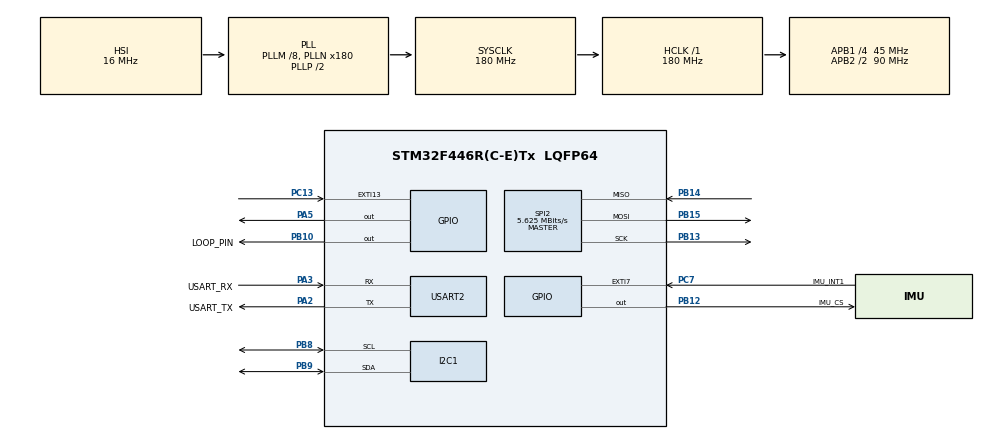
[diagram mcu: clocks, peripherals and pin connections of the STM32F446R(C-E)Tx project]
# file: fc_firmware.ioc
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FREERTOS.Tasks01=defaultTask,24,512,StartDefaultTask,Default,NULL,Dynamic,NULL,NULL
FREERTOS.configCHECK_FOR_STACK_OVERFLOW=2
FREERTOS.configUSE_NEWLIB_REENTRANT=1
I2C1.I2C_Mode=I2C_Fast
Mcu.Family=STM32F4
Mcu.Name=STM32F446R(C-E)Tx
Mcu.Package=LQFP64
NUCLEO-F446RE.BUTTON=1
NUCLEO-F446RE.LD1=true
NVIC.EXTI15_10_IRQn=true\:5\:0\:true\:false\:true\:true\:true\:true\:true
NVIC.EXTI9_5_IRQn=true\:5\:0\:false\:false\:true\:true\:true\:true\:true
NVIC.PriorityGroup=NVIC_PRIORITYGROUP_4
NVIC.TIM6_DAC_IRQn=true\:15\:0\:false\:false\:true\:false\:false\:true\:true
NVIC.TimeBase=TIM6_DAC_IRQn
NVIC.TimeBaseIP=TIM6
NVIC.USART2_IRQn=true\:6\:0\:true\:false\:true\:true\:true\:true\:true
PA13.GPIO_Label=TMS
PA13.Mode=Serial_Wire
PA13.Signal=SYS_JTMS-SWDIO
PA14.GPIO_Label=TCK
PA14.Mode=Serial_Wire
PA14.Signal=SYS_JTCK-SWCLK
PA2.GPIO_Label=USART_TX
PA2.Mode=Asynchronous
PA2.Signal=USART2_TX
PA3.GPIO_Label=USART_RX
PA3.Mode=Asynchronous
PA3.Signal=USART2_RX
PA5.Signal=GPIO_Output
PB10.GPIO_Label=LOOP_PIN
PB10.Signal=GPIO_Output
PB12.GPIO_Label=IMU_CS
PB12.GPIO_Speed=GPIO_SPEED_FREQ_VERY_HIGH
PB12.PinState=GPIO_PIN_SET
PB12.Signal=GPIO_Output
PB13.Mode=Full_Duplex_Master
PB13.Signal=SPI2_SCK
PB14.Mode=Full_Duplex_Master
PB14.Signal=SPI2_MISO
PB15.Mode=Full_Duplex_Master
PB15.Signal=SPI2_MOSI
PB3.GPIO_Label=SWO
PB3.Signal=SYS_JTDO-SWO
PB8.Mode=I2C
PB8.Signal=I2C1_SCL
PB9.Mode=I2C
PB9.Signal=I2C1_SDA
PC13.Signal=GPXTI13
PC14-OSC32_IN.Signal=RCC_OSC32_IN
PC15-OSC32_OUT.Signal=RCC_OSC32_OUT
PC7.GPIO_Label=IMU_INT1
PC7.GPIO_ModeDefaultEXTI=GPIO_MODE_IT_RISING
PC7.Signal=GPXTI7
PH0-OSC_IN.Signal=RCC_OSC_IN
PH1-OSC_OUT.Signal=RCC_OSC_OUT
ProjectManager.HeapSize=0x200
ProjectManager.StackSize=0x400
ProjectManager.TargetToolchain=STM32CubeIDE
RCC.AHBFreq_Value=180000000
RCC.APB1CLKDivider=RCC_HCLK_DIV4
RCC.APB1Freq_Value=45000000
RCC.APB1TimFreq_Value=90000000
RCC.APB2CLKDivider=RCC_HCLK_DIV2
RCC.APB2Freq_Value=90000000
RCC.APB2TimFreq_Value=180000000
RCC.CortexFreq_Value=180000000
RCC.FLatency-AdvancedSettings=FLASH_LATENCY_5
RCC.HCLKFreq_Value=180000000
RCC.HSE_VALUE=8000000
RCC.HSI_VALUE=16000000
RCC.LSE_VALUE=32768
RCC.PLLM=8
RCC.PLLN=180
RCC.SYSCLKFreq_VALUE=180000000
RCC.SYSCLKSource=RCC_SYSCLKSOURCE_PLLCLK
RCC.USBFreq_Value=180000000
RCC.VCOOutputFreq_Value=360000000
SPI2.BaudRatePrescaler=SPI_BAUDRATEPRESCALER_8
SPI2.CLKPhase=SPI_PHASE_2EDGE
SPI2.CLKPolarity=SPI_POLARITY_HIGH
SPI2.CalculateBaudRate=5.625 MBits/s
SPI2.Direction=SPI_DIRECTION_2LINES
SPI2.Mode=SPI_MODE_MASTER
SPI2.VirtualType=VM_MASTER
USART2.VirtualMode=VM_ASYNC
VP_FREERTOS_VS_CMSIS_V2.Mode=CMSIS_V2
VP_NUCLEO-F446RE_VS_BSP_COMMON.Mode=COMMON
VP_SYS_VS_tim6.Mode=TIM6
board=NUCLEO-F446RE

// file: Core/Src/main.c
/* USER CODE BEGIN Header */
/**
  ******************************************************************************
  * @file           : main.c
  * @brief          : Main program body
  ******************************************************************************
  * @attention
  *
  * Copyright (c) 2026 STMicroelectronics.
  * All rights reserved.
  *
  * This software is licensed under terms that can be found in the LICENSE file
  * in the root directory of this software component.
  * If no LICENSE file comes with this software, it is provided AS-IS.
  *
  ******************************************************************************
  */
/* USER CODE END Header */
#include "main.h"
#include "cmsis_os.h"
#include "i2c.h"
#include "spi.h"
#include "usart.h"
#include "gpio.h"

/* USER CODE BEGIN Includes */
#include <stdio.h>
#include "pid.h"
#include "comp_filter.h"
/* USER CODE END Includes */

void SystemClock_Config(void);
void MX_FREERTOS_Init(void);

/* USER CODE BEGIN 0 */

/* Redirect prinf to USART2 (the ST_LINK's serial port). */
int _write(int file, char* ptr, int len)
{
	(void)file;		//unused: all output goes to the UART
	HAL_UART_Transmit(&huart2, (uint8_t *)ptr, len, HAL_MAX_DELAY);	//send the bytes, wait until done
	return len;		//tell printf everything was written
}
/* USER CODE END 0 */

int main(void)
{

  /* MCU Configuration--------------------------------------------------------*/

  /* Reset of all peripherals, Initializes the Flash interface and the Systick. */
  HAL_Init();

  /* Configure the system clock */
  SystemClock_Config();

  /* Initialize all configured peripherals */
  MX_GPIO_Init();
  MX_SPI2_Init();
  MX_USART2_UART_Init();
  MX_I2C1_Init();
  /* USER CODE BEGIN 2 */
  static pid_ctrl_t     roll_pid;      /* placeholder: proves core/ links into the firmware */
  static comp_filter_t  roll_filter;
  pid_init(&roll_pid, 1.0f, 0.0f, 0.0f, -1.0f, 1.0f);
  cf_init(&roll_filter, 0.47f);
  /* USER CODE END 2 */

  /* Init scheduler */
  osKernelInitialize();  /* Call init function for freertos objects (in cmsis_os2.c) */
  MX_FREERTOS_Init();

  /* Initialize leds */
  BSP_LED_Init(LED2);

  /* Initialize USER push-button, will be used to trigger an interrupt each time it's pressed.*/
  BSP_PB_Init(BUTTON_USER, BUTTON_MODE_EXTI);

  /* Start scheduler */
  osKernelStart();

  /* We should never get here as control is now taken by the scheduler */

  /* Infinite loop */
  while (1)
  {

  }
}

void SystemClock_Config(void)
{
  RCC_OscInitTypeDef RCC_OscInitStruct = {0};
  RCC_ClkInitTypeDef RCC_ClkInitStruct = {0};

  /** Configure the main internal regulator output voltage
  */
  __HAL_RCC_PWR_CLK_ENABLE();
  __HAL_PWR_VOLTAGESCALING_CONFIG(PWR_REGULATOR_VOLTAGE_SCALE1);

  /** Initializes the RCC Oscillators according to the specified parameters
  * in the RCC_OscInitTypeDef structure.
  */
  RCC_OscInitStruct.OscillatorType = RCC_OSCILLATORTYPE_HSI;
  RCC_OscInitStruct.HSIState = RCC_HSI_ON;
  RCC_OscInitStruct.HSICalibrationValue = RCC_HSICALIBRATION_DEFAULT;
  RCC_OscInitStruct.PLL.PLLState = RCC_PLL_ON;
  RCC_OscInitStruct.PLL.PLLSource = RCC_PLLSOURCE_HSI;
  RCC_OscInitStruct.PLL.PLLM = 8;
  RCC_OscInitStruct.PLL.PLLN = 180;
  RCC_OscInitStruct.PLL.PLLP = RCC_PLLP_DIV2;
  RCC_OscInitStruct.PLL.PLLQ = 2;
  RCC_OscInitStruct.PLL.PLLR = 2;
  if (HAL_RCC_OscConfig(&RCC_OscInitStruct) != HAL_OK)
  {
    Error_Handler();
  }

  /** Activate the Over-Drive mode
  */
  if (HAL_PWREx_EnableOverDrive() != HAL_OK)
  {
    Error_Handler();
  }

  /** Initializes the CPU, AHB and APB buses clocks
  */
  RCC_ClkInitStruct.ClockType = RCC_CLOCKTYPE_HCLK|RCC_CLOCKTYPE_SYSCLK
                              |RCC_CLOCKTYPE_PCLK1|RCC_CLOCKTYPE_PCLK2;
  RCC_ClkInitStruct.SYSCLKSource = RCC_SYSCLKSOURCE_PLLCLK;
  RCC_ClkInitStruct.AHBCLKDivider = RCC_SYSCLK_DIV1;
  RCC_ClkInitStruct.APB1CLKDivider = RCC_HCLK_DIV4;
  RCC_ClkInitStruct.APB2CLKDivider = RCC_HCLK_DIV2;

  if (HAL_RCC_ClockConfig(&RCC_ClkInitStruct, FLASH_LATENCY_5) != HAL_OK)
  {
    Error_Handler();
  }
}

void HAL_TIM_PeriodElapsedCallback(TIM_HandleTypeDef *htim)
{
  if (htim->Instance == TIM6)
  {
    HAL_IncTick();
  }
}

void Error_Handler(void)
{
  __disable_irq();
  while (1)
  {
  }
}

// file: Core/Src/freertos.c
/* USER CODE BEGIN Header */
/**
  ******************************************************************************
  * File Name          : freertos.c
  * Description        : Code for freertos applications
  ******************************************************************************
  * @attention
  *
  * Copyright (c) 2026 STMicroelectronics.
  * All rights reserved.
  *
  * This software is licensed under terms that can be found in the LICENSE file
  * in the root directory of this software component.
  * If no LICENSE file comes with this software, it is provided AS-IS.
  *
  ******************************************************************************
  */
/* USER CODE END Header */

#include "FreeRTOS.h"
#include "task.h"
#include "main.h"
#include "cmsis_os.h"

/* USER CODE BEGIN Includes */
#include <stdio.h>
#include "lsm6dsox.h"
#include "imu_convert.h"
#include "comp_filter.h"
#include "usart.h"
#include "roll_ctrl.h"
#include "hil_proto.h"   /* HIL message format from core/ */
/* USER CODE END Includes */

/* USER CODE BEGIN PTD */
/* One telemetry sample, passed from the control task to the telemetry task */
typedef struct {
	uint32_t tick;	/*ms since boot */
	float az_g;		/*accel Z, g */
	float gx_dps;	/*raw gyro X, deg/s */
	float acc_deg;	/*accel-only angle, deg */
	float angle_deg;/*filtered angle, deg */
	float cmd;		/* controller output, -1..1 (no motors yet) */
} telem_t;
/* USER CODE END PTD */

/* USER CODE BEGIN PD */
#define IMU_FLAG		0x01u	/*thread flag set by the data-ready interrupt*/
#define IMU_ODR_HZ		1608.0f	/*IMU output rate = loop rate (REQ-01) */
#define TELEM_DIVIDER	166u	/*send 1 of every 166 samples -> 10Hz telemetry*/
#define DRDY_TIMEOUT_MS	5u		/*no data-ready for 5ms = IMU fault (seed for REQ-02*/

/* 1 = HIL mode: PC sends sensor values, board replies with motor command.
   0 = normal mode: real IMU drives the loop. Rebuild + reflash after changing. */
#define HIL_MODE        1
#define HIL_DT_S        (1.0f / 1608.0f)   /* simulated step, s: matches the real loop rate (622 us) */
#define HIL_TX_TIMEOUT  10u                /* ms: max wait to send a 13-byte reply (~1.1 ms at 115200) */
/* USER CODE END PD */

/* USER CODE BEGIN Variables */
static osMessageQueueId_t telemQueue;	/*mailbox between control and telemetry tasks */
static osMessageQueueId_t rxQueue;      /* bytes received from the PC, waiting to be parsed */
static uint8_t rx_byte;                 /* where the UART drops each received byte */
/* USER CODE END Variables */
/* Definitions for defaultTask */
osThreadId_t defaultTaskHandle;
const osThreadAttr_t defaultTask_attributes = {
  .name = "defaultTask",
  .stack_size = 512 * 4,
  .priority = (osPriority_t) osPriorityNormal,
};

/* USER CODE BEGIN FunctionPrototypes */
static void TelemetryTask(void *argument);
static void hil_loop(void);                  /* HIL main loop: never returns */
/* USER CODE END FunctionPrototypes */

void StartDefaultTask(void *argument);

void MX_FREERTOS_Init(void); /* (MISRA C 2004 rule 8.1) */

/* Hook prototypes */
void vApplicationStackOverflowHook(xTaskHandle xTask, signed char *pcTaskName);

/* USER CODE BEGIN 4 */
void vApplicationStackOverflowHook(xTaskHandle xTask, signed char *pcTaskName)
{
   /* Run time stack overflow checking is performed if
   configCHECK_FOR_STACK_OVERFLOW is defined to 1 or 2. This hook function is
   called if a stack overflow is detected. */
	(void)xTask; (void)pcTaskName;
}
/* USER CODE END 4 */

void MX_FREERTOS_Init(void) {

  /* USER CODE BEGIN RTOS_QUEUES */
  /* add queues, ... */
	/*16 slots; if the telemetry task falls behind, new samples are dropped
	instead of the control task waiting */
	telemQueue = osMessageQueueNew(16, sizeof(telem_t), NULL);
	/* 256 one-byte slots: room for 12 SENSOR frames, far more than lock-step needs */
	rxQueue = osMessageQueueNew(256, sizeof(uint8_t), NULL);
  /* USER CODE END RTOS_QUEUES */

  /* Create the thread(s) */
  /* creation of defaultTask */
  defaultTaskHandle = osThreadNew(StartDefaultTask, NULL, &defaultTask_attributes);

  /* USER CODE BEGIN RTOS_THREADS */
  /* add threads, ... */
  const osThreadAttr_t telemAttr = {
		  .name = "telem",
		  .stack_size = 512*4,			/*bytes; prinf with floats needs more room */
		  .priority = osPriorityLow,	/*below the control task; printing never delays control */
  };
  osThreadNew(TelemetryTask, NULL, &telemAttr);
  /* USER CODE END RTOS_THREADS */

}

void StartDefaultTask(void *argument)
{
  /* USER CODE BEGIN StartDefaultTask */

	(void)argument;

#if HIL_MODE
  hil_loop();          /* PC drives everything; IMU, filter and telemetry are skipped */
#endif

    /* ---- Otherwise, Normal mode (unchanged below) ---- */
	int rc = lsm6dsox_init();		/*bring up the IMU; 0 = success*/
	printf("IMU init: %d\r\n", rc);	/*report which step failed, if any*/
	  /* Factory-trimmed oscillator deviation for this specific chip (DS12814, reg 0x63).
	     Signed 8-bit: each count = [scale from datasheet] % of nominal ODR. */
	  int8_t freq_fine = lsm6dsox_read_freq_fine();
	  printf("INTERNAL_FREQ_FINE: %d (~%.2f%% vs nominal)\r\n",
	         freq_fine, (double)(freq_fine * 0.15f));   /* 0.15 %/LSB, DS12814 Table 174 */

	if(rc !=0)
	{
		/* Init failed: stop here and blink fast (10Hz) so failure is visible
		 * even without a terminal open. The task never continues*/
		for (;;)
		{
			HAL_GPIO_TogglePin(GPIOA, GPIO_PIN_5);
			osDelay(100);
		}
	}

	  comp_filter_t roll;
	  cf_init(&roll, 0.47f);                     /* tau = 0.47 s */

	  /* 1. Let the gyro settle after power-on. Its first outputs are not
	        valid, and calibrating on them gives a wrong bias. */
	  osDelay(200);                              /* 200 ms, generous */
	  for (int i = 0; i < 20; i++) {             /* throw away 20 samples (~200 ms) */
	    uint8_t junk[12];
	    osDelay(10);
	    (void)lsm6dsox_read_raw(junk);           /* (void) = result deliberately ignored */
	  }

	  /* 2. Measure the bias: 100 samples, 10 ms apart = 1 s. Board must be still. */
	  float gx_samples[100];
	  float gmin = 1e9f, gmax = -1e9f;           /* smallest and largest sample seen */
	  for (int i = 0; i < 100; i++) {
	    uint8_t raw_cal[12];
	    imu_sample_t cal;
	    osDelay(10);
	    if (lsm6dsox_read_raw(raw_cal) != 0) { i--; continue; }  /* retry a failed read */
	    imu_convert(raw_cal, &cal);
	    gx_samples[i] = cal.gyro_dps[0];
	    if (gx_samples[i] < gmin) gmin = gx_samples[i];
	    if (gx_samples[i] > gmax) gmax = gx_samples[i];
	  }
	  cf_calibrate_bias(&roll, gx_samples, 100);

	  /* 3. Print what calibration saw, so a bad calibration is visible. */
	  printf("gyro X bias: %.3f dps\r\n", (double)roll.gyro_bias_dps);
	  printf("cal spread: %.2f to %.2f dps\r\n", (double)gmin, (double)gmax);
	  printf("first/last cal sample: %.2f / %.2f dps\r\n",
	         (double)gx_samples[0], (double)gx_samples[99]);

	/* Calibration reads ran while data-ready pulses were firing, so flags
     are already set. Clear them so the first loop waits for a fresh sample. */
	  osThreadFlagsClear(IMU_FLAG);

	  const float dt = 1.0f / IMU_ODR_HZ;   /* 0.6 ms nominal sample period */
	  uint32_t n = 0;
	  uint32_t drdy_timeouts = 0;

	  roll_ctrl_t ctrl;
	  roll_ctrl_init(&ctrl, &ROLL_GAINS_DEFAULT);	/*gains from SIL tuning */

	  for (;;) {
		/* Sleep until the interrupt says a new sample is ready. The task uses
		   no CPU while waiting; the IMU's clock sets the loop rate. */
		uint32_t f = osThreadFlagsWait(IMU_FLAG, osFlagsWaitAny, DRDY_TIMEOUT_MS);
		if (f & osFlagsError) {             /* timed out: no sample in 5 ms */
		  drdy_timeouts++;                  /* later: REQ-02 -> zero motors, FAULT state */
		  continue;
		}

    HAL_GPIO_WritePin(LOOP_PIN_GPIO_Port, LOOP_PIN_Pin, GPIO_PIN_SET);   /* loop start */

    uint8_t raw[12];
    if (lsm6dsox_read_raw(raw) == 0) {
      imu_sample_t s;
      imu_convert(raw, &s);
      float acc_angle = cf_accel_angle_deg(s.accel_g[1], s.accel_g[2]);
      float angle = cf_update(&roll, s.gyro_dps[0], acc_angle, dt);

      /* Inner loop needs the bias-correcct rate (the filter corrects internally,
       *  but the raw s.gyro_dps[0] still contains the ~0.5 dps bias */
      float rate_dps = s.gyro_dps[0] - roll.gyro_bias_dps;
      /* Hold level, Output drives nothing yet; it is logged so we can check sign and size */
      float cmd = roll_ctrl_step(&ctrl, 0.0f, angle, rate_dps, dt);

      if (++n % TELEM_DIVIDER == 0) {
        telem_t t = { osKernelGetTickCount(), s.accel_g[2], s.gyro_dps[0], acc_angle, angle, cmd };
        osMessageQueuePut(telemQueue, &t, 0, 0);   /* timeout 0: never wait here */
      }
    }

    HAL_GPIO_WritePin(LOOP_PIN_GPIO_Port, LOOP_PIN_Pin, GPIO_PIN_RESET); /* loop end */
  }

  /* USER CODE END StartDefaultTask */
}

/* USER CODE BEGIN Application */
/* Low-priority task: the only place that prints. A ~40-character line takes
   ~3.5 ms at 115200 baud; running here, it gets interrupted by the control
   task instead of blocking it. */
static void TelemetryTask(void *argument)
{
  (void)argument;
  telem_t t;
  for (;;) {
    if (osMessageQueueGet(telemQueue, &t, NULL, osWaitForever) == osOK) {
    	char line[64];                                    /* one CSV line, ~40 chars */
    	int len = snprintf(line, sizeof line, "%lu,%.3f,%.2f,%.2f,%.2f,%3f\r\n",
    	                   t.tick, (double)t.az_g, (double)t.gx_dps,
    	                   (double)t.acc_deg, (double)t.angle_deg, (double)t.cmd);
    	if (len > 0) {
    	  /* No newlib stdout lock held while sending, so the control task
    	     can preempt this at any point. */
    	  HAL_UART_Transmit(&huart2, (uint8_t *)line, (uint16_t)len, HAL_MAX_DELAY);
    	}
    }
  }
}

/* Runs in interrupt context on each PC7 rising edge (IMU data-ready).
   Does the minimum: wake the control task, then return. */
void HAL_GPIO_EXTI_Callback(uint16_t GPIO_Pin)
{
  if (GPIO_Pin == IMU_INT1_Pin && defaultTaskHandle != NULL) {
    osThreadFlagsSet(defaultTaskHandle, IMU_FLAG);   /* safe from an interrupt */
  }
}

/* ---------------------------------------------------------------------------
 * HIL main loop. Replaces the IMU loop when HIL_MODE is 1.
 * Each pass: collect bytes until a complete SENSOR message arrives, run the
 * controller on its values, and send back a CMD message with the same number.
 * ------------------------------------------------------------------------- */
static void hil_loop(void)
{
  roll_ctrl_t ctrl;                          /* the same controller as in normal mode */
  roll_ctrl_init(&ctrl, &ROLL_GAINS_DEFAULT);

  hil_parser_t parser;                       /* rebuilds messages from single bytes */
  hil_parser_init(&parser);

  uint8_t out[HIL_MAX_FRAME];                /* reply bytes are built here */

  /* Ask the UART for the first byte. From then on the callback re-arms itself. */
  HAL_UART_Receive_IT(&huart2, &rx_byte, 1);

  for (;;) {
    /* 1. Wait (sleeping, no CPU used) until the interrupt has queued a byte */
    uint8_t b;
    if (osMessageQueueGet(rxQueue, &b, NULL, osWaitForever) != osOK) {
      continue;
    }

    /* 2. Give the byte to the parser. Only act once a whole, undamaged
          SENSOR message has arrived; every other byte just returns here. */
    if (hil_parser_feed(&parser, b) != HIL_TYPE_SENSOR) {
      continue;
    }
    hil_sensor_t s;
    if (hil_decode_sensor(&parser, &s) != 0) {
      continue;                              /* wrong size: ignore */
    }

    HAL_GPIO_WritePin(LOOP_PIN_GPIO_Port, LOOP_PIN_Pin, GPIO_PIN_SET);   /* timing: start */

    /* 3. Message #0 = the PC is starting a new run, so clear the controller's memory */
    if (s.seq == 0) {
      roll_ctrl_reset(&ctrl);
    }

    /* 4. Exactly the call the real loop makes, with values from the PC */
    hil_cmd_t c = {
      .seq    = s.seq,                       /* echo the number so the PC can match the reply */
      .cmd    = roll_ctrl_step(&ctrl, s.angle_sp_deg, s.angle_deg, s.rate_dps, HIL_DT_S),
      .status = HIL_STATUS_OK,
    };

    /* 5. Package and send the reply */
    size_t n = hil_encode_cmd(&c, out);

    HAL_GPIO_WritePin(LOOP_PIN_GPIO_Port, LOOP_PIN_Pin, GPIO_PIN_RESET); /* timing: end */

    HAL_UART_Transmit(&huart2, out, (uint16_t)n, HIL_TX_TIMEOUT);
  }
}

/* ---------------------------------------------------------------------------
 * Called by HAL (inside the USART2 interrupt) each time one byte has arrived.
 * Keep it tiny: store the byte, re-arm, return. The task does the real work.
 * ------------------------------------------------------------------------- */
void HAL_UART_RxCpltCallback(UART_HandleTypeDef *huart)
{
  if (huart == &huart2) {
    osMessageQueuePut(rxQueue, &rx_byte, 0, 0);   /* timeout 0: if the queue is ever full, drop
                                                     the byte rather than wait (interrupts can't
                                                     wait); the CRC will reject that frame */
    HAL_UART_Receive_IT(&huart2, &rx_byte, 1);    /* ask for the next byte */
  }
}

/* ---------------------------------------------------------------------------
 * Called by HAL if the UART reports a receive error (for example "overrun":
 * a new byte arrived before the previous one was collected). HAL stops
 * receiving after an error, so restart it, or the board would go deaf.
 * ------------------------------------------------------------------------- */
void HAL_UART_ErrorCallback(UART_HandleTypeDef *huart)
{
  if (huart == &huart2) {
    HAL_UART_Receive_IT(&huart2, &rx_byte, 1);
  }
}
/* USER CODE END Application */
